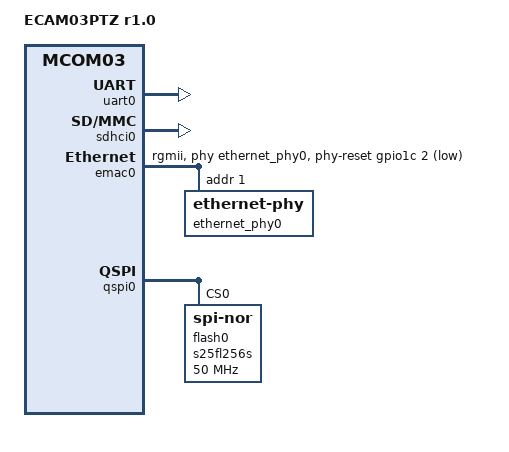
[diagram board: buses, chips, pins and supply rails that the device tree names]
// SPDX-License-Identifier: GPL-2.0+
/*
 * Copyright 2022-2023 RnD Center "ELVEES", JSC
 */

/dts-v1/;

#include <dt-bindings/gpio/gpio.h>

#include "mcom03.dtsi"

/ {
	model = "ECAM03PTZ r1.0";
	compatible = "elvees,ecam03ptz-r1.0",
		     "elvees,ecam03ptz",
		     "elvees,mcom03";

	chosen {
		stdout-path = "serial0:115200n8";
	};

	/delete-node/ sdr@1900000;
};

&uart0 {
	status = "okay";
	clock-frequency = <27920454>;
};

&sdhci0 {
	status = "okay";

	/* Disable 1.8V support
	 * Disable SDR50, SDR104 and DDR50 support
	 */
	sdhci-caps-mask = <0x7 0x4000000>;
	sdhci-caps = <0x0 0x0>;
};

&emac0 {
	status = "okay";
	phy-mode = "rgmii";
	phy-handle = <&ethernet_phy0>;
	phy-reset-gpios = <&gpio1c 2 GPIO_ACTIVE_LOW>;
	elvees,pads-1v8-en;

	ethernet_phy0: ethernet-phy@1 {
		reg = <0x1>;
		/* This is max GTX_CLK skew (0b11111 * 60ps/step)
		 * for KSZ9031 Ethernet PHY
		 */
		txc-skew-ps = <1860>;
	};
};

&qspi0 {
	status = "okay";

	flash0: s25fl256s@0 {
		#address-cells = <1>;
		#size-cells = <1>;
		compatible = "jedec,spi-nor", "spi-flash";
		reg = <0x0>;
		/* This is the highest frequency at which all commands are
		 * supported by the flash device.
		 */
		spi-max-frequency = <50000000>;
	};
};
